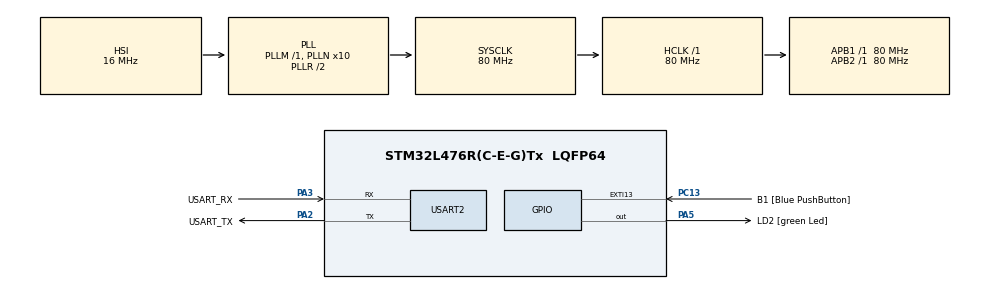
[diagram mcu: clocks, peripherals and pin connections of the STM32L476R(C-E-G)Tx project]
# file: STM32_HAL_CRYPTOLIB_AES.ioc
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Mcu.Family=STM32L4
Mcu.Name=STM32L476R(C-E-G)Tx
Mcu.Package=LQFP64
NVIC.PriorityGroup=NVIC_PRIORITYGROUP_4
PA13\ (JTMS-SWDIO).GPIO_Label=TMS
PA13\ (JTMS-SWDIO).Mode=Serial_Wire
PA13\ (JTMS-SWDIO).Signal=SYS_JTMS-SWDIO
PA14\ (JTCK-SWCLK).GPIO_Label=TCK
PA14\ (JTCK-SWCLK).Mode=Serial_Wire
PA14\ (JTCK-SWCLK).Signal=SYS_JTCK-SWCLK
PA2.GPIO_Label=USART_TX
PA2.GPIO_Mode=GPIO_MODE_AF_PP
PA2.GPIO_PuPd=GPIO_NOPULL
PA2.GPIO_Speed=GPIO_SPEED_FREQ_VERY_HIGH
PA2.Mode=Asynchronous
PA2.Signal=USART2_TX
PA3.GPIO_Label=USART_RX
PA3.GPIO_Mode=GPIO_MODE_AF_PP
PA3.GPIO_PuPd=GPIO_NOPULL
PA3.GPIO_Speed=GPIO_SPEED_FREQ_VERY_HIGH
PA3.Mode=Asynchronous
PA3.Signal=USART2_RX
PA5.GPIO_Label=LD2 [green Led]
PA5.GPIO_ModeDefaultOutputPP=GPIO_MODE_OUTPUT_PP
PA5.GPIO_PuPd=GPIO_NOPULL
PA5.GPIO_Speed=GPIO_SPEED_FREQ_LOW
PA5.Signal=GPIO_Output
PB3\ (JTDO-TRACESWO).GPIO_Label=SWO
PB3\ (JTDO-TRACESWO).Signal=SYS_JTDO-SWO
PC13.GPIO_Label=B1 [Blue PushButton]
PC13.GPIO_ModeDefaultEXTI=GPIO_MODE_IT_FALLING
PC13.GPIO_PuPd=GPIO_NOPULL
PC13.Signal=GPXTI13
PC14-OSC32_IN\ (PC14).Mode=LSE-External-Oscillator
PC14-OSC32_IN\ (PC14).Signal=RCC_OSC32_IN
PC15-OSC32_OUT\ (PC15).Mode=LSE-External-Oscillator
PC15-OSC32_OUT\ (PC15).Signal=RCC_OSC32_OUT
PH0-OSC_IN\ (PH0).Signal=RCC_OSC_IN
PH1-OSC_OUT\ (PH1).Signal=RCC_OSC_OUT
ProjectManager.HeapSize=0x200
ProjectManager.StackSize=0x400
ProjectManager.TargetToolchain=STM32CubeIDE
RCC.ADCFreq_Value=64000000
RCC.AHBFreq_Value=80000000
RCC.APB1Freq_Value=80000000
RCC.APB1TimFreq_Value=80000000
RCC.APB2Freq_Value=80000000
RCC.APB2TimFreq_Value=80000000
RCC.CortexFreq_Value=80000000
RCC.HCLKFreq_Value=80000000
RCC.HSE_VALUE=8000000
RCC.HSI_VALUE=16000000
RCC.MSI_VALUE=4000000
RCC.PLLN=10
RCC.PLLSourceVirtual=RCC_PLLSOURCE_HSI
RCC.PREFETCH_ENABLE=1
RCC.SYSCLKFreq_VALUE=80000000
RCC.SYSCLKSource=RCC_SYSCLKSOURCE_PLLCLK
RCC.USBFreq_Value=64000000
RCC.VCOOutputFreq_Value=160000000
USART2.VirtualMode-Asynchronous=VM_ASYNC
board=NUCLEO-L476RG

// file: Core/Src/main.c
/* USER CODE BEGIN Header */
/**
 ******************************************************************************
 * @file           : main.c
 * @brief          : Main program body
 ******************************************************************************
 * @attention
 *
 * Copyright (c) 2022 STMicroelectronics.
 * All rights reserved.
 *
 * This software is licensed under terms that can be found in the LICENSE file
 * in the root directory of this software component.
 * If no LICENSE file comes with this software, it is provided AS-IS.
 *
 ******************************************************************************
 */
/* USER CODE END Header */
#include "main.h"
#include "usart.h"
#include "gpio.h"

/* USER CODE BEGIN Includes */
#include <stdio.h>
#include <stdbool.h>
#include <string.h>
#include "cmox_crypto.h"
/* USER CODE END Includes */

/* USER CODE BEGIN PD */

// define CHUNK_SIZE for multiple call
#define CHUNK_SIZE  48u

/* USER CODE END PD */

void SystemClock_Config(void);

/* USER CODE BEGIN 0 */

int __io_putchar (int ch)
{
  HAL_UART_Transmit(&huart2, (uint8_t*)&ch, 1, HAL_MAX_DELAY);
  return ch;
}

void printHexArray(const uint8_t* arr, const size_t len)
{
  for(size_t i = 0; i < len; i++)
  {
    printf("%02X ", arr[i]);
  }

  printf("\r\n");
}

cmox_cbc_handle_t hCBC;

/** Extract from NIST Special Publication 800-38A
F.2.1 CBC-AES128.Encrypt
key 2b7e151628aed2a6abf7158809cf4f3c
IV 000102030405060708090a0b0c0d0e0f

plainText 6bc1bee22e409f96e93d7e117393172a
plainText ae2d8a571e03ac9c9eb76fac45af8e51
plainText 30c81c46a35ce411e5fbc1191a0a52ef
plainText f69f2445df4f9b17ad2b417be66c3710

Ciphertext 7649abac8119b246cee98e9b12e9197d
Ciphertext 5086cb9b507219ee95db113a917678b2
Ciphertext 73bed6b8e3c1743b7116e69e22229516
Ciphertext 3ff1caa1681fac09120eca307586e1a7
 */

const uint8_t key[] =
{
    0x2b, 0x7e, 0x15, 0x16, 0x28, 0xae, 0xd2, 0xa6, 0xab, 0xf7, 0x15, 0x88, 0x09, 0xcf, 0x4f, 0x3c
};

const uint8_t IV[] =
{
    0x00, 0x01, 0x02, 0x03, 0x04, 0x05, 0x06, 0x07, 0x08, 0x09, 0x0a, 0x0b, 0x0c, 0x0d, 0x0e, 0x0f
};

const uint8_t plainText[] =
{
    0x6b, 0xc1, 0xbe, 0xe2, 0x2e, 0x40, 0x9f, 0x96, 0xe9, 0x3d, 0x7e, 0x11, 0x73, 0x93, 0x17, 0x2a,
    0xae, 0x2d, 0x8a, 0x57, 0x1e, 0x03, 0xac, 0x9c, 0x9e, 0xb7, 0x6f, 0xac, 0x45, 0xaf, 0x8e, 0x51,
    0x30, 0xc8, 0x1c, 0x46, 0xa3, 0x5c, 0xe4, 0x11, 0xe5, 0xfb, 0xc1, 0x19, 0x1a, 0x0a, 0x52, 0xef,
    0xf6, 0x9f, 0x24, 0x45, 0xdf, 0x4f, 0x9b, 0x17, 0xad, 0x2b, 0x41, 0x7b, 0xe6, 0x6c, 0x37, 0x10
};

const uint8_t encryptedText[] =
{
    0x76, 0x49, 0xab, 0xac, 0x81, 0x19, 0xb2, 0x46, 0xce, 0xe9, 0x8e, 0x9b, 0x12, 0xe9, 0x19, 0x7d,
    0x50, 0x86, 0xcb, 0x9b, 0x50, 0x72, 0x19, 0xee, 0x95, 0xdb, 0x11, 0x3a, 0x91, 0x76, 0x78, 0xb2,
    0x73, 0xbe, 0xd6, 0xb8, 0xe3, 0xc1, 0x74, 0x3b, 0x71, 0x16, 0xe6, 0x9e, 0x22, 0x22, 0x95, 0x16,
    0x3f, 0xf1, 0xca, 0xa1, 0x68, 0x1f, 0xac, 0x09, 0x12, 0x0e, 0xca, 0x30, 0x75, 0x86, 0xe1, 0xa7
};

uint8_t encBuffer[sizeof(encryptedText)];
uint8_t decBuffer[sizeof(plainText)];

bool SingleCallEncrypt(void)
{
  cmox_cipher_retval_t retVal;
  size_t outputLen;

  printf("Testing SingleCallEncrypt.\r\n");

  //encrypt plainText
  retVal = cmox_cipher_encrypt(
      CMOX_AES_CBC_ENC_ALGO,        //AES-CBC
      plainText,                    //plain text
      sizeof(plainText),            //size of plain text
      key,                          //key
      sizeof(key),                  //size of key
      IV,                           //initialization vector
      sizeof(IV),                   //size of IV
      encBuffer,                    //encrypted text
      &outputLen);                  //size of encrypted text

  //check the result
  if( (retVal != CMOX_CIPHER_SUCCESS) ||
      (outputLen != sizeof(encryptedText)) ||
      (memcmp(encryptedText, encBuffer, outputLen) != 0) ) return false;

  printHexArray(encBuffer, outputLen);
  printf("\r\n");

  return true;
}

bool SingleCallDecrypt(void)
{
  cmox_cipher_retval_t retVal;
  size_t outputLen;

  printf("Testing SingleCallDecrypt.\r\n");

  //decrypt encryptedText
  retVal = cmox_cipher_decrypt(
      CMOX_AES_CBC_DEC_ALGO,        //AES-CBC
      encryptedText,                //encrypted text
      sizeof(encryptedText),        //size of encrypted text
      key,                          //key
      sizeof(key),                  //size of key
      IV,                           //initialization vector
      sizeof(IV),                   //size of IV
      decBuffer,                    //decrypted text
      &outputLen);                  //size of decrypted text

  //check the result
  if( (retVal != CMOX_CIPHER_SUCCESS) ||
      (outputLen != sizeof(plainText)) ||
      (memcmp(plainText, decBuffer, outputLen) != 0) ) return false;

  printHexArray(decBuffer, outputLen);
  printf("\r\n");

  return true;
}

bool MultiCallEncrypt(void)
{
  cmox_cipher_retval_t retVal;
  size_t outputLen;
  cmox_cipher_handle_t *pCipherCtx;
  uint32_t index;

  printf("Testing MultiCallEncrypt.\r\n");

  //select AES CBC encryption
  pCipherCtx = cmox_cbc_construct(&hCBC, CMOX_AES_CBC_ENC);
  if(pCipherCtx == NULL) return false;

  //initialize CBC
  if(cmox_cipher_init(pCipherCtx) != CMOX_CIPHER_SUCCESS) return false;

  //configure key
  if(cmox_cipher_setKey(pCipherCtx, key, sizeof(key)) != CMOX_CIPHER_SUCCESS) return false;

  //configure IV
  if(cmox_cipher_setIV(pCipherCtx, IV, sizeof(IV)) != CMOX_CIPHER_SUCCESS) return false;

  //encrypt the plaintext in multiple steps by appending chunks of CHUNK_SIZE bytes
  for(index = 0; index < (sizeof(plainText) - CHUNK_SIZE); index += CHUNK_SIZE)
  {
    retVal = cmox_cipher_append(
        pCipherCtx,
        &plainText[index],      //plain text
        CHUNK_SIZE,             //size to encrypt
        encBuffer,              //output buffer
        &outputLen);            //output length

    //check the result
    if( (retVal != CMOX_CIPHER_SUCCESS) ||
        (outputLen != CHUNK_SIZE) ||
        (memcmp(&encryptedText[index], encBuffer, outputLen) != 0) ) return false;

    printHexArray(encBuffer, outputLen);
  }

  //encrypt remaining
  if(index < sizeof(plainText))
  {
    retVal = cmox_cipher_append(
        pCipherCtx,
        &plainText[index],
        sizeof(plainText) - index,
        encBuffer,
        &outputLen);

    //check the result
    if( (retVal != CMOX_CIPHER_SUCCESS) ||
        (outputLen != (sizeof(plainText) - index)) ||
        (memcmp(&encryptedText[index], encBuffer, outputLen) != 0) ) return false;

    printHexArray(encBuffer, outputLen);
  }

  //cleanup context
  if(cmox_cipher_cleanup(pCipherCtx) != CMOX_CIPHER_SUCCESS) return false;
  printf("\r\n");

  return true;
}

bool MultiCallDecrypt(void)
{
  cmox_cipher_retval_t retVal;
  size_t outputLen;
  cmox_cipher_handle_t *pCipherCtx;
  uint32_t index;

  printf("Testing MultiCallDecrypt.\r\n");

  //select AES CBC decryption
  pCipherCtx = cmox_cbc_construct(&hCBC, CMOX_AES_CBC_DEC);
  if(pCipherCtx == NULL) return false;

  //initialize CBC
  if(cmox_cipher_init(pCipherCtx) != CMOX_CIPHER_SUCCESS) return false;

  //configure key
  if(cmox_cipher_setKey(pCipherCtx, key, sizeof(key)) != CMOX_CIPHER_SUCCESS) return false;

  //configure IV
  if(cmox_cipher_setIV(pCipherCtx, IV, sizeof(IV)) != CMOX_CIPHER_SUCCESS) return false;

  //decrypt the plainText in multiple steps by appending chunks of CHUNK_SIZE bytes
  for(index = 0; index < (sizeof(encryptedText) - CHUNK_SIZE); index += CHUNK_SIZE)
  {
    retVal = cmox_cipher_append(
        pCipherCtx,
        &encryptedText[index],
        CHUNK_SIZE,
        decBuffer,
        &outputLen);

    //check the result
    if( (retVal != CMOX_CIPHER_SUCCESS) ||
        (outputLen != CHUNK_SIZE) ||
        (memcmp(&plainText[index], decBuffer, outputLen) != 0) ) return false;

    printHexArray(decBuffer, outputLen);
  }

  //decrypt remaining
  if (index < sizeof(encryptedText))
  {
    retVal = cmox_cipher_append(
        pCipherCtx,
        &encryptedText[index],
        sizeof(encryptedText) - index,
        decBuffer,
        &outputLen);

    //check the result
    if( (retVal != CMOX_CIPHER_SUCCESS) ||
        (outputLen != (sizeof(encryptedText) - index)) ||
        (memcmp(&plainText[index], decBuffer, outputLen) != 0) ) return false;

    printHexArray(decBuffer, outputLen);
  }

  //cleanup context
  if (cmox_cipher_cleanup(pCipherCtx) != CMOX_CIPHER_SUCCESS) return false;
  printf("\r\n");

  return true;
}

/* USER CODE END 0 */

int main(void)
{

  /* MCU Configuration--------------------------------------------------------*/

  /* Reset of all peripherals, Initializes the Flash interface and the Systick. */

  //disable prefetch (PREFETCH_ENABLE == 0)
  HAL_Init();

  /* Configure the system clock */
  SystemClock_Config();

  /* Initialize all configured peripherals */
  MX_GPIO_Init();
  MX_USART2_UART_Init();
  /* USER CODE BEGIN 2 */

  //print plain text & encrypted text
  printf("Print plainText.\r\n");
  printHexArray((uint8_t*)plainText, sizeof(plainText));
  printf("\r\n");
  printf("Print encryptedText.\r\n");
  printHexArray((uint8_t*)encryptedText, sizeof(encryptedText));
  printf("\r\n");

  //initialize CMOX
  if (cmox_initialize(NULL) != CMOX_INIT_SUCCESS)
  {
    Error_Handler();
  }

  /********** Single call example **********/

  if(!SingleCallEncrypt())
  {
    HAL_GPIO_WritePin(LD2_GPIO_Port, LD2_Pin, GPIO_PIN_SET);
  }

  if(!SingleCallDecrypt())
  {
    HAL_GPIO_WritePin(LD2_GPIO_Port, LD2_Pin, GPIO_PIN_SET);
  }

  /********** Multiple call example **********/

  if(!MultiCallEncrypt())
  {
    HAL_GPIO_WritePin(LD2_GPIO_Port, LD2_Pin, GPIO_PIN_SET);
  }

  if(!MultiCallDecrypt())
  {
    HAL_GPIO_WritePin(LD2_GPIO_Port, LD2_Pin, GPIO_PIN_SET);
  }

  //finalize CMOX
  if (cmox_finalize(NULL) != CMOX_INIT_SUCCESS)
  {
    Error_Handler();
  }

  /* USER CODE END 2 */

  /* Infinite loop */
  while (1)
  {

  }
}

void SystemClock_Config(void)
{
  RCC_OscInitTypeDef RCC_OscInitStruct = {0};
  RCC_ClkInitTypeDef RCC_ClkInitStruct = {0};

  /** Configure the main internal regulator output voltage
   */
  if (HAL_PWREx_ControlVoltageScaling(PWR_REGULATOR_VOLTAGE_SCALE1) != HAL_OK)
  {
    Error_Handler();
  }

  /** Initializes the RCC Oscillators according to the specified parameters
   * in the RCC_OscInitTypeDef structure.
   */
  RCC_OscInitStruct.OscillatorType = RCC_OSCILLATORTYPE_HSI;
  RCC_OscInitStruct.HSIState = RCC_HSI_ON;
  RCC_OscInitStruct.HSICalibrationValue = RCC_HSICALIBRATION_DEFAULT;
  RCC_OscInitStruct.PLL.PLLState = RCC_PLL_ON;
  RCC_OscInitStruct.PLL.PLLSource = RCC_PLLSOURCE_HSI;
  RCC_OscInitStruct.PLL.PLLM = 1;
  RCC_OscInitStruct.PLL.PLLN = 10;
  RCC_OscInitStruct.PLL.PLLP = RCC_PLLP_DIV7;
  RCC_OscInitStruct.PLL.PLLQ = RCC_PLLQ_DIV2;
  RCC_OscInitStruct.PLL.PLLR = RCC_PLLR_DIV2;
  if (HAL_RCC_OscConfig(&RCC_OscInitStruct) != HAL_OK)
  {
    Error_Handler();
  }

  /** Initializes the CPU, AHB and APB buses clocks
   */
  RCC_ClkInitStruct.ClockType = RCC_CLOCKTYPE_HCLK|RCC_CLOCKTYPE_SYSCLK
      |RCC_CLOCKTYPE_PCLK1|RCC_CLOCKTYPE_PCLK2;
  RCC_ClkInitStruct.SYSCLKSource = RCC_SYSCLKSOURCE_PLLCLK;
  RCC_ClkInitStruct.AHBCLKDivider = RCC_SYSCLK_DIV1;
  RCC_ClkInitStruct.APB1CLKDivider = RCC_HCLK_DIV1;
  RCC_ClkInitStruct.APB2CLKDivider = RCC_HCLK_DIV1;

  if (HAL_RCC_ClockConfig(&RCC_ClkInitStruct, FLASH_LATENCY_4) != HAL_OK)
  {
    Error_Handler();
  }
}

void Error_Handler(void)
{
  __disable_irq();
  while (1)
  {
  }
}
